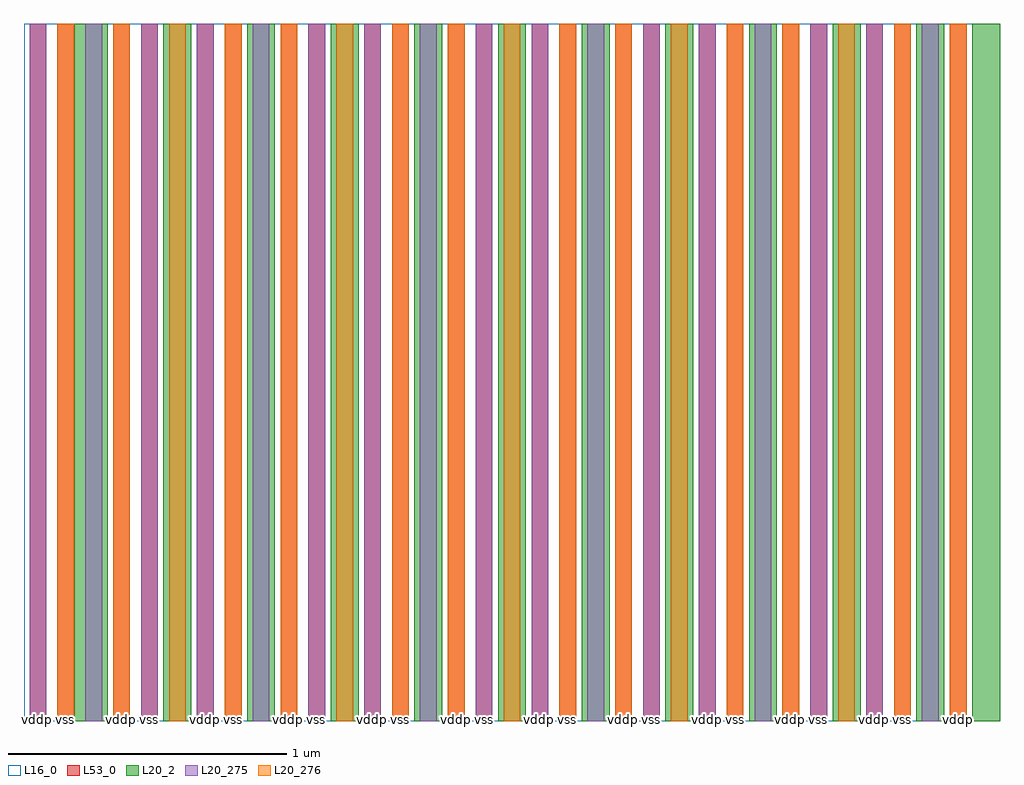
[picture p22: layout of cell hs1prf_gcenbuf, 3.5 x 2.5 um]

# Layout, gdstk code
import gdstk
lib = gdstk.Library(unit=1e-6, precision=5e-10)
def R(c, l, rs):  # rectangles x0, y0, x1, y1
    for r in rs: c.add(gdstk.rectangle(r[:2], r[2:], *l))
def A(c, l, x, y, w, h, nx, ny, dx, dy):  # array of equal rectangles
    R(c, l, [(x+i*dx, y+j*dy, x+i*dx+w, y+j*dy+h) for i in range(nx) for j in range(ny)])
L16_0 = (16, 0)
L20_2 = (20, 2)
L20_275 = (20, 275)
L20_276 = (20, 276)
L53_0 = (53, 0)

hs1prf_gcenbuf = lib.new_cell('hs1prf_gcenbuf')
R(hs1prf_gcenbuf, L16_0, [(0,0,3.5,2.5)])
A(hs1prf_gcenbuf, L20_2, 0.5, 0, 0.1, 2.5, 10, 1, 0.3, 0)
R(hs1prf_gcenbuf, L20_2, [(0.18,0,0.3,2.5), (3.4,0,3.5,2.5)])
R(hs1prf_gcenbuf, L53_0, [(0.02,0,0.08,2.5), (0.12,0,0.18,2.5), (0.32,0,0.38,2.5), (0.42,0,0.48,2.5), (0.62,0,0.68,2.5), (0.72,0,0.78,2.5), (0.92,0,0.98,2.5), (1.02,0,1.08,2.5), (1.22,0,1.28,2.5), (1.32,0,1.38,2.5), (1.52,0,1.58,2.5), (1.62,0,1.68,2.5), (1.82,0,1.88,2.5), (1.92,0,1.98,2.5), (2.12,0,2.18,2.5), (2.22,0,2.28,2.5), (2.42,0,2.48,2.5), (2.52,0,2.58,2.5), (2.72,0,2.78,2.5), (2.82,0,2.88,2.5), (3.02,0,3.08,2.5), (3.12,0,3.18,2.5), (3.32,0,3.38,2.5)])
hs1prf_gcenbuf.add(gdstk.FlexPath([(0.05,0),(0.05,2.5)], 0.06, ends="flush", simple_path=True, layer=20, datatype=275))  # L20_275
hs1prf_gcenbuf.add(gdstk.FlexPath([(0.15,0),(0.15,2.5)], 0.06, ends="flush", simple_path=True, layer=20, datatype=276))  # L20_276
hs1prf_gcenbuf.add(gdstk.FlexPath([(0.25,0),(0.25,2.5)], 0.06, ends="flush", simple_path=True, layer=20, datatype=275))  # L20_275
hs1prf_gcenbuf.add(gdstk.FlexPath([(0.35,0),(0.35,2.5)], 0.06, ends="flush", simple_path=True, layer=20, datatype=276))  # L20_276
hs1prf_gcenbuf.add(gdstk.FlexPath([(0.45,0),(0.45,2.5)], 0.06, ends="flush", simple_path=True, layer=20, datatype=275))  # L20_275
hs1prf_gcenbuf.add(gdstk.FlexPath([(0.55,0),(0.55,2.5)], 0.06, ends="flush", simple_path=True, layer=20, datatype=276))  # L20_276
hs1prf_gcenbuf.add(gdstk.FlexPath([(0.65,0),(0.65,2.5)], 0.06, ends="flush", simple_path=True, layer=20, datatype=275))  # L20_275
hs1prf_gcenbuf.add(gdstk.FlexPath([(0.75,0),(0.75,2.5)], 0.06, ends="flush", simple_path=True, layer=20, datatype=276))  # L20_276
hs1prf_gcenbuf.add(gdstk.FlexPath([(0.85,0),(0.85,2.5)], 0.06, ends="flush", simple_path=True, layer=20, datatype=275))  # L20_275
hs1prf_gcenbuf.add(gdstk.FlexPath([(0.95,0),(0.95,2.5)], 0.06, ends="flush", simple_path=True, layer=20, datatype=276))  # L20_276
hs1prf_gcenbuf.add(gdstk.FlexPath([(1.05,0),(1.05,2.5)], 0.06, ends="flush", simple_path=True, layer=20, datatype=275))  # L20_275
hs1prf_gcenbuf.add(gdstk.FlexPath([(1.15,0),(1.15,2.5)], 0.06, ends="flush", simple_path=True, layer=20, datatype=276))  # L20_276
hs1prf_gcenbuf.add(gdstk.FlexPath([(1.25,0),(1.25,2.5)], 0.06, ends="flush", simple_path=True, layer=20, datatype=275))  # L20_275
hs1prf_gcenbuf.add(gdstk.FlexPath([(1.35,0),(1.35,2.5)], 0.06, ends="flush", simple_path=True, layer=20, datatype=276))  # L20_276
hs1prf_gcenbuf.add(gdstk.FlexPath([(1.45,0),(1.45,2.5)], 0.06, ends="flush", simple_path=True, layer=20, datatype=275))  # L20_275
hs1prf_gcenbuf.add(gdstk.FlexPath([(1.55,0),(1.55,2.5)], 0.06, ends="flush", simple_path=True, layer=20, datatype=276))  # L20_276
hs1prf_gcenbuf.add(gdstk.FlexPath([(1.65,0),(1.65,2.5)], 0.06, ends="flush", simple_path=True, layer=20, datatype=275))  # L20_275
hs1prf_gcenbuf.add(gdstk.FlexPath([(1.75,0),(1.75,2.5)], 0.06, ends="flush", simple_path=True, layer=20, datatype=276))  # L20_276
hs1prf_gcenbuf.add(gdstk.FlexPath([(1.85,0),(1.85,2.5)], 0.06, ends="flush", simple_path=True, layer=20, datatype=275))  # L20_275
hs1prf_gcenbuf.add(gdstk.FlexPath([(1.95,0),(1.95,2.5)], 0.06, ends="flush", simple_path=True, layer=20, datatype=276))  # L20_276
hs1prf_gcenbuf.add(gdstk.FlexPath([(2.05,0),(2.05,2.5)], 0.06, ends="flush", simple_path=True, layer=20, datatype=275))  # L20_275
hs1prf_gcenbuf.add(gdstk.FlexPath([(2.15,0),(2.15,2.5)], 0.06, ends="flush", simple_path=True, layer=20, datatype=276))  # L20_276
hs1prf_gcenbuf.add(gdstk.FlexPath([(2.25,0),(2.25,2.5)], 0.06, ends="flush", simple_path=True, layer=20, datatype=275))  # L20_275
hs1prf_gcenbuf.add(gdstk.FlexPath([(2.35,0),(2.35,2.5)], 0.06, ends="flush", simple_path=True, layer=20, datatype=276))  # L20_276
hs1prf_gcenbuf.add(gdstk.FlexPath([(2.45,0),(2.45,2.5)], 0.06, ends="flush", simple_path=True, layer=20, datatype=275))  # L20_275
hs1prf_gcenbuf.add(gdstk.FlexPath([(2.55,0),(2.55,2.5)], 0.06, ends="flush", simple_path=True, layer=20, datatype=276))  # L20_276
hs1prf_gcenbuf.add(gdstk.FlexPath([(2.65,0),(2.65,2.5)], 0.06, ends="flush", simple_path=True, layer=20, datatype=275))  # L20_275
hs1prf_gcenbuf.add(gdstk.FlexPath([(2.75,0),(2.75,2.5)], 0.06, ends="flush", simple_path=True, layer=20, datatype=276))  # L20_276
hs1prf_gcenbuf.add(gdstk.FlexPath([(2.85,0),(2.85,2.5)], 0.06, ends="flush", simple_path=True, layer=20, datatype=275))  # L20_275
hs1prf_gcenbuf.add(gdstk.FlexPath([(2.95,0),(2.95,2.5)], 0.06, ends="flush", simple_path=True, layer=20, datatype=276))  # L20_276
hs1prf_gcenbuf.add(gdstk.FlexPath([(3.05,0),(3.05,2.5)], 0.06, ends="flush", simple_path=True, layer=20, datatype=275))  # L20_275
hs1prf_gcenbuf.add(gdstk.FlexPath([(3.15,0),(3.15,2.5)], 0.06, ends="flush", simple_path=True, layer=20, datatype=276))  # L20_276
hs1prf_gcenbuf.add(gdstk.FlexPath([(3.25,0),(3.25,2.5)], 0.06, ends="flush", simple_path=True, layer=20, datatype=275))  # L20_275
hs1prf_gcenbuf.add(gdstk.FlexPath([(3.35,0),(3.35,2.5)], 0.06, ends="flush", simple_path=True, layer=20, datatype=276))  # L20_276
hs1prf_gcenbuf.add(gdstk.Label('vddp', (0.05,0.005), layer=60, texttype=0))
hs1prf_gcenbuf.add(gdstk.Label('vss', (0.15,0.005), layer=60, texttype=0))
hs1prf_gcenbuf.add(gdstk.Label('vddpi', (0.25,0.005), layer=60, texttype=0))
hs1prf_gcenbuf.add(gdstk.Label('vddp', (0.35,0.005), layer=60, texttype=0))
hs1prf_gcenbuf.add(gdstk.Label('vss', (0.45,0.005), layer=60, texttype=0))
hs1prf_gcenbuf.add(gdstk.Label('vddpi', (0.55,0.005), layer=60, texttype=0))
hs1prf_gcenbuf.add(gdstk.Label('vddp', (0.65,0.005), layer=60, texttype=0))
hs1prf_gcenbuf.add(gdstk.Label('vss', (0.75,0.005), layer=60, texttype=0))
hs1prf_gcenbuf.add(gdstk.Label('vddpi', (0.85,0.005), layer=60, texttype=0))
hs1prf_gcenbuf.add(gdstk.Label('vddp', (0.95,0.005), layer=60, texttype=0))
hs1prf_gcenbuf.add(gdstk.Label('vss', (1.05,0.005), layer=60, texttype=0))
hs1prf_gcenbuf.add(gdstk.Label('vddpi', (1.15,0.005), layer=60, texttype=0))
hs1prf_gcenbuf.add(gdstk.Label('vddp', (1.25,0.005), layer=60, texttype=0))
hs1prf_gcenbuf.add(gdstk.Label('vss', (1.35,0.005), layer=60, texttype=0))
hs1prf_gcenbuf.add(gdstk.Label('vddpi', (1.45,0.005), layer=60, texttype=0))
hs1prf_gcenbuf.add(gdstk.Label('vddp', (1.55,0.005), layer=60, texttype=0))
hs1prf_gcenbuf.add(gdstk.Label('vss', (1.65,0.005), layer=60, texttype=0))
hs1prf_gcenbuf.add(gdstk.Label('vddpi', (1.75,0.005), layer=60, texttype=0))
hs1prf_gcenbuf.add(gdstk.Label('vddp', (1.85,0.005), layer=60, texttype=0))
hs1prf_gcenbuf.add(gdstk.Label('vss', (1.95,0.005), layer=60, texttype=0))
hs1prf_gcenbuf.add(gdstk.Label('vddpi', (2.05,0.005), layer=60, texttype=0))
hs1prf_gcenbuf.add(gdstk.Label('vddp', (2.15,0.005), layer=60, texttype=0))
hs1prf_gcenbuf.add(gdstk.Label('vss', (2.25,0.005), layer=60, texttype=0))
hs1prf_gcenbuf.add(gdstk.Label('vddpi', (2.35,0.005), layer=60, texttype=0))
hs1prf_gcenbuf.add(gdstk.Label('vddp', (2.45,0.005), layer=60, texttype=0))
hs1prf_gcenbuf.add(gdstk.Label('vss', (2.55,0.005), layer=60, texttype=0))
hs1prf_gcenbuf.add(gdstk.Label('vddpi', (2.65,0.005), layer=60, texttype=0))
hs1prf_gcenbuf.add(gdstk.Label('vddp', (2.75,0.005), layer=60, texttype=0))
hs1prf_gcenbuf.add(gdstk.Label('vss', (2.85,0.005), layer=60, texttype=0))
hs1prf_gcenbuf.add(gdstk.Label('vddpi', (2.95,0.005), layer=60, texttype=0))
hs1prf_gcenbuf.add(gdstk.Label('vddp', (3.05,0.005), layer=60, texttype=0))
hs1prf_gcenbuf.add(gdstk.Label('vss', (3.15,0.005), layer=60, texttype=0))
hs1prf_gcenbuf.add(gdstk.Label('vddpi', (3.25,0.005), layer=60, texttype=0))
hs1prf_gcenbuf.add(gdstk.Label('vddp', (3.35,0.005), layer=60, texttype=0))

lib.write_gds('hs1prf_gcenbuf.gds')
